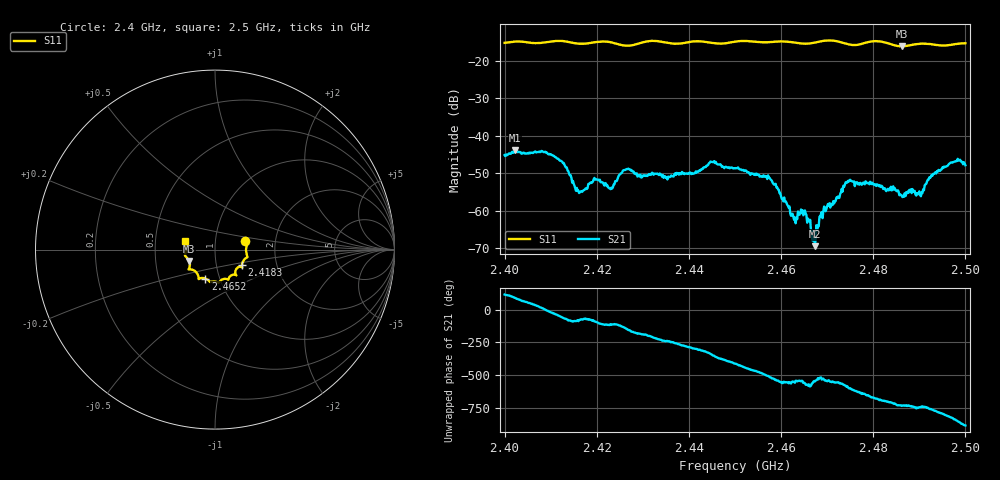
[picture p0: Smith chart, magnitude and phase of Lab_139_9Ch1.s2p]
# Hz S RI R 50
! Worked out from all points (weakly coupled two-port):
!   601 points, 2.4 GHz to 2.5 GHz, reference 50 ohm
!   highest |S21| = -43.88 dB at 2.4023 GHz (marker M1); lowest = -69.5 dB at 2.4673 GHz (marker M2)
!   lowest |S11| = -16.1 dB at 2.4862 GHz (marker M3), VSWR 1.37, Z = 37.2 - j4.87 ohm
!   |S11| at or under -10 dB: start of sweep to end of sweep
!   S12 and S22 are empty: the file has one direction only
!   S11 on the Smith chart (normalised r, x): 2.4 GHz: 1.40, +0.14; 2.4183 GHz: 1.33, -0.24; 2.4652 GHz: 0.85, -0.28; 2.5 GHz: 0.71, +0.07
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2.4e9  0.1683 0.0472  -0.00237 0.005  0 0  0 0
2.402333e9  0.1783 0.0352  0.000133 0.00639  0 0  0 0
2.410667e9  0.1801 -0.0372  0.00465 -0.00279  0 0  0 0
2.416667e9  0.1555 -0.0679  0.000496 -0.00175  0 0  0 0
2.418333e9  0.1502 -0.0864  0.000674 -0.00218  0 0  0 0
2.423e9  0.149 -0.0976  -0.000678 -0.00182  0 0  0 0
2.4265e9  0.1221 -0.1035  -0.00303 -0.00196  0 0  0 0
2.433333e9  0.1171 -0.1415  -0.00213 0.00221  0 0  0 0
2.445e9  0.0623 -0.163  0.00432 0.00118  0 0  0 0
2.45e9  0.0259 -0.1795  0.00224 -0.00292  0 0  0 0
2.457333e9  -0.0114 -0.178  -0.00236 -0.00142  0 0  0 0
2.462667e9  -0.0345 -0.1736  -0.000812 0.000154  0 0  0 0
2.465167e9  -0.0545 -0.1612  -0.000943 0.000364  0 0  0 0
2.466667e9  -0.0706 -0.1578  -0.000493 0.000229  0 0  0 0
2.467333e9  -0.0775 -0.1582  -0.000333 5.03e-05  0 0  0 0
2.469e9  -0.0885 -0.1622  -0.000783 -0.000138  0 0  0 0
2.4745e9  -0.0979 -0.1362  -0.00154 0.00197  0 0  0 0
2.483333e9  -0.1416 -0.0966  0.00182 0.000449  0 0  0 0
2.486167e9  -0.1432 -0.0638  0.00153 -0.000426  0 0  0 0
2.490167e9  -0.166 -0.0363  0.00148 -0.000748  0 0  0 0
2.497e9  -0.1626 0.0265  -0.00115 -0.00426  0 0  0 0
2.5e9  -0.1657 0.0475  -0.00392 -0.00104  0 0  0 0
